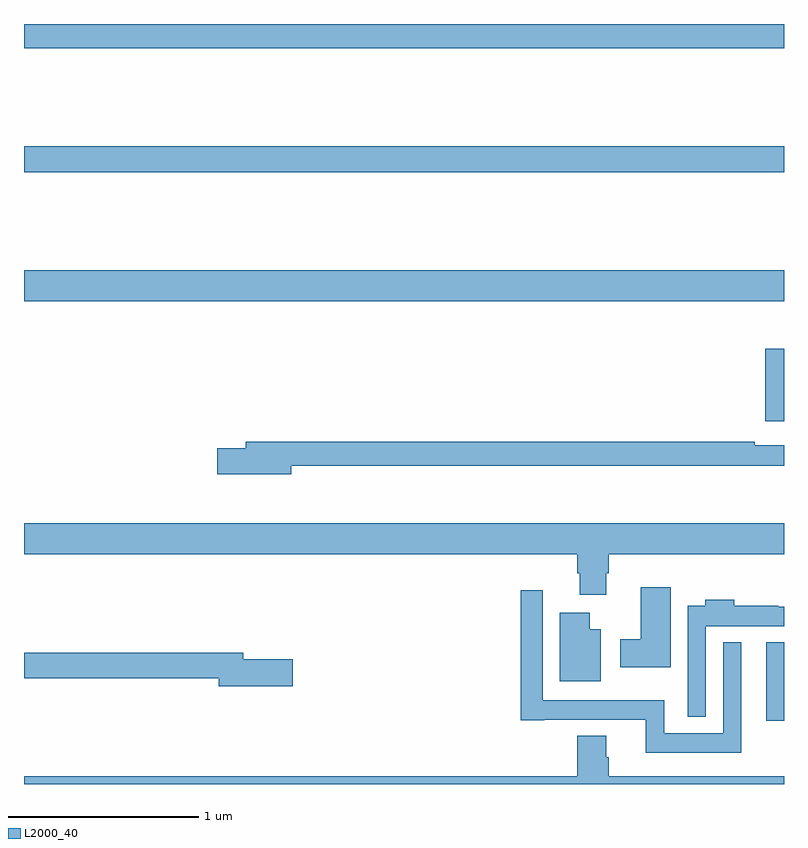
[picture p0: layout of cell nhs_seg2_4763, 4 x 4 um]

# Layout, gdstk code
import gdstk
lib = gdstk.Library(unit=1e-6, precision=1e-09)
def R(c, l, rs):  # rectangles x0, y0, x1, y1
    for r in rs: c.add(gdstk.rectangle(r[:2], r[2:], *l))
def P(c, l, *ps):  # polygons
    for p in ps: c.add(gdstk.Polygon(p, *l))
L2000_40 = (2000, 40)

nhs_seg2_4763 = lib.new_cell('nhs_seg2_4763')
R(nhs_seg2_4763, L2000_40, [(374.906,608.134,375,608.545), (374.9,609.708,375,610.09), (371,610.34,375,610.504), (371,611.02,375,611.156), (371,611.672,375,611.8)])
P(nhs_seg2_4763, L2000_40, [(372.406,609.474),(375,609.474),(375,609.582),(374.846,609.582),(374.846,609.602),(372.167,609.602),(372.167,609.566),(372.018,609.566),(372.018,609.431),(372.406,609.431)],
  [(374.065,608.91),(374.078,608.91),(374.078,609.008),(375,609.008),(375,609.172),(371,609.172),(371,609.008),(373.913,609.008),(373.913,608.91),(373.925,608.91),(373.925,608.796),(374.065,608.796)],
  [(374.404,608.836),(374.246,608.836),(374.246,608.562),(374.139,608.562),(374.139,608.414),(374.404,608.414)],
  [(374.776,608.545),(374.679,608.545),(374.679,608.068),(374.37,608.068),(374.37,608.242),(373.731,608.242),(373.731,608.821),(373.615,608.821),(373.615,608.136),(373.738,608.136),(373.738,608.138),(374.273,608.138),(374.273,607.964),(374.776,607.964)],
  [(374.589,608.63),(375,608.63),(375,608.734),(374.969,608.734),(374.969,608.737),(374.738,608.737),(374.738,608.77),(374.585,608.77),(374.585,608.737),(374.493,608.737),(374.493,608.153),(374.589,608.153)],
  [(374.035,608.614),(373.978,608.614),(373.978,608.701),(373.82,608.701),(373.82,608.342),(374.035,608.342)],
  [(372.415,608.456),(372.154,608.456),(372.154,608.492),(371,608.492),(371,608.356),(372.026,608.356),(372.026,608.314),(372.415,608.314)],
  [(375,607.84),(374.078,607.84),(374.078,607.941),(374.065,607.941),(374.065,608.053),(373.913,608.053),(373.913,607.84),(371,607.84),(371,607.8),(375,607.8)])

lib.write_gds('nhs_seg2_4763.gds')
